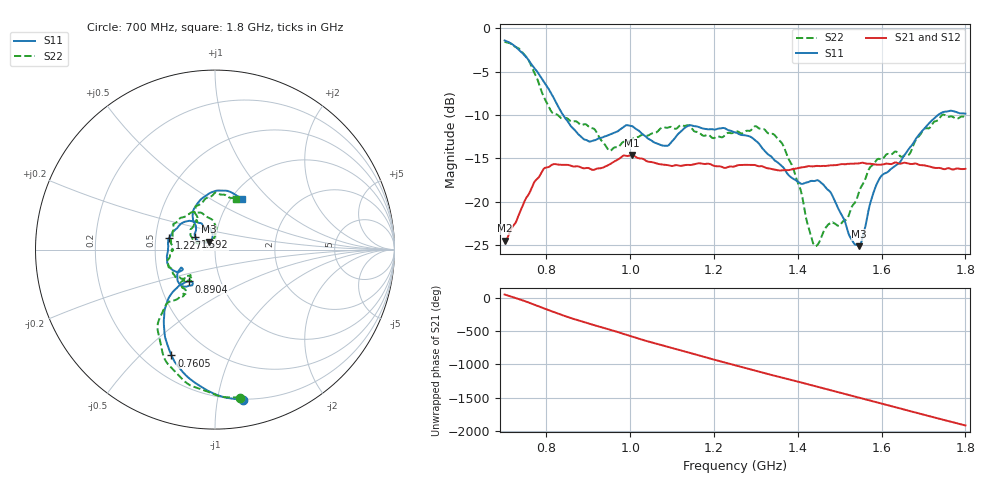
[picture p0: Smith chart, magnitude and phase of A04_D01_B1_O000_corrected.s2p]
! Created with skrf 1.9.0 (http://scikit-rf.org).
# Hz S RI R 50.0
!freq ReS11 ImS11 ReS21 ImS21 ReS12 ImS12 ReS22 ImS22
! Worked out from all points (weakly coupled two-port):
!   1601 points, 700 MHz to 1.8 GHz, reference 50 ohm
!   highest |S21| = -14.61 dB at 1.005 GHz (marker M1); lowest = -24.5 dB at 700.7 MHz (marker M2)
!   lowest |S11| = -25.1 dB at 1.546 GHz (marker M3), VSWR 1.12, Z = 46.6 + j4.09 ohm
!   |S11| at or under -10 dB: 839.4 MHz to 1.735 GHz (895.2 MHz wide, 69.6 % of centre)
!   |S22| runs from -25.1 to -1.6 dB; largest |S21 - S12| = 0.0038
!   S11 on the Smith chart (normalised r, x): 700 MHz: 0.20, -1.19; 760.5 MHz: 0.31, -0.62; 890.4 MHz: 0.71, -0.26; 1.227 GHz: 0.59, +0.08; 1.592 GHz: 0.79, +0.12; 1.8 GHz: 1.12, +0.71
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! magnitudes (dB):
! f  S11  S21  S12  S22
! 700 MHz  -1.4  -24.5  -24.3  -1.6
! 700.7 MHz  -1.4  -24.5  -24.2  -1.6
! 760.5 MHz  -3.9  -18.9  -18.8  -4.0
! 812.8 MHz  -7.7  -15.8  -15.8  -9.7
! 883.6 MHz  -12.5  -16.1  -16.0  -11.2
! 890.4 MHz  -12.8  -16.1  -16.1  -11.1
! 950.2 MHz  -12.3  -15.7  -15.7  -14.1
! 1.005 GHz  -11.3  -14.6  -14.8  -12.8
! 1.067 GHz  -13.4  -15.7  -15.6  -11.8
! 1.227 GHz  -11.6  -16.1  -16.0  -12.3
! 1.25 GHz  -12.0  -15.9  -15.9  -11.9
! 1.361 GHz  -15.9  -16.4  -16.4  -13.2
! 1.405 GHz  -17.8  -16.1  -16.1  -18.4
! 1.434 GHz  -17.6  -15.9  -15.9  -24.4
! 1.477 GHz  -18.8  -15.8  -15.8  -22.5
! 1.515 GHz  -22.7  -15.7  -15.7  -22.1
! 1.546 GHz  -25.1  -15.6  -15.6  -18.8
! 1.592 GHz  -17.6  -15.7  -15.7  -15.1
! 1.617 GHz  -16.5  -15.6  -15.6  -14.5
! 1.664 GHz  -14.0  -15.6  -15.6  -14.6
! 1.736 GHz  -9.9  -16.1  -16.2  -10.5
! 1.8 GHz  -9.9  -16.2  -16.2  -10.3
